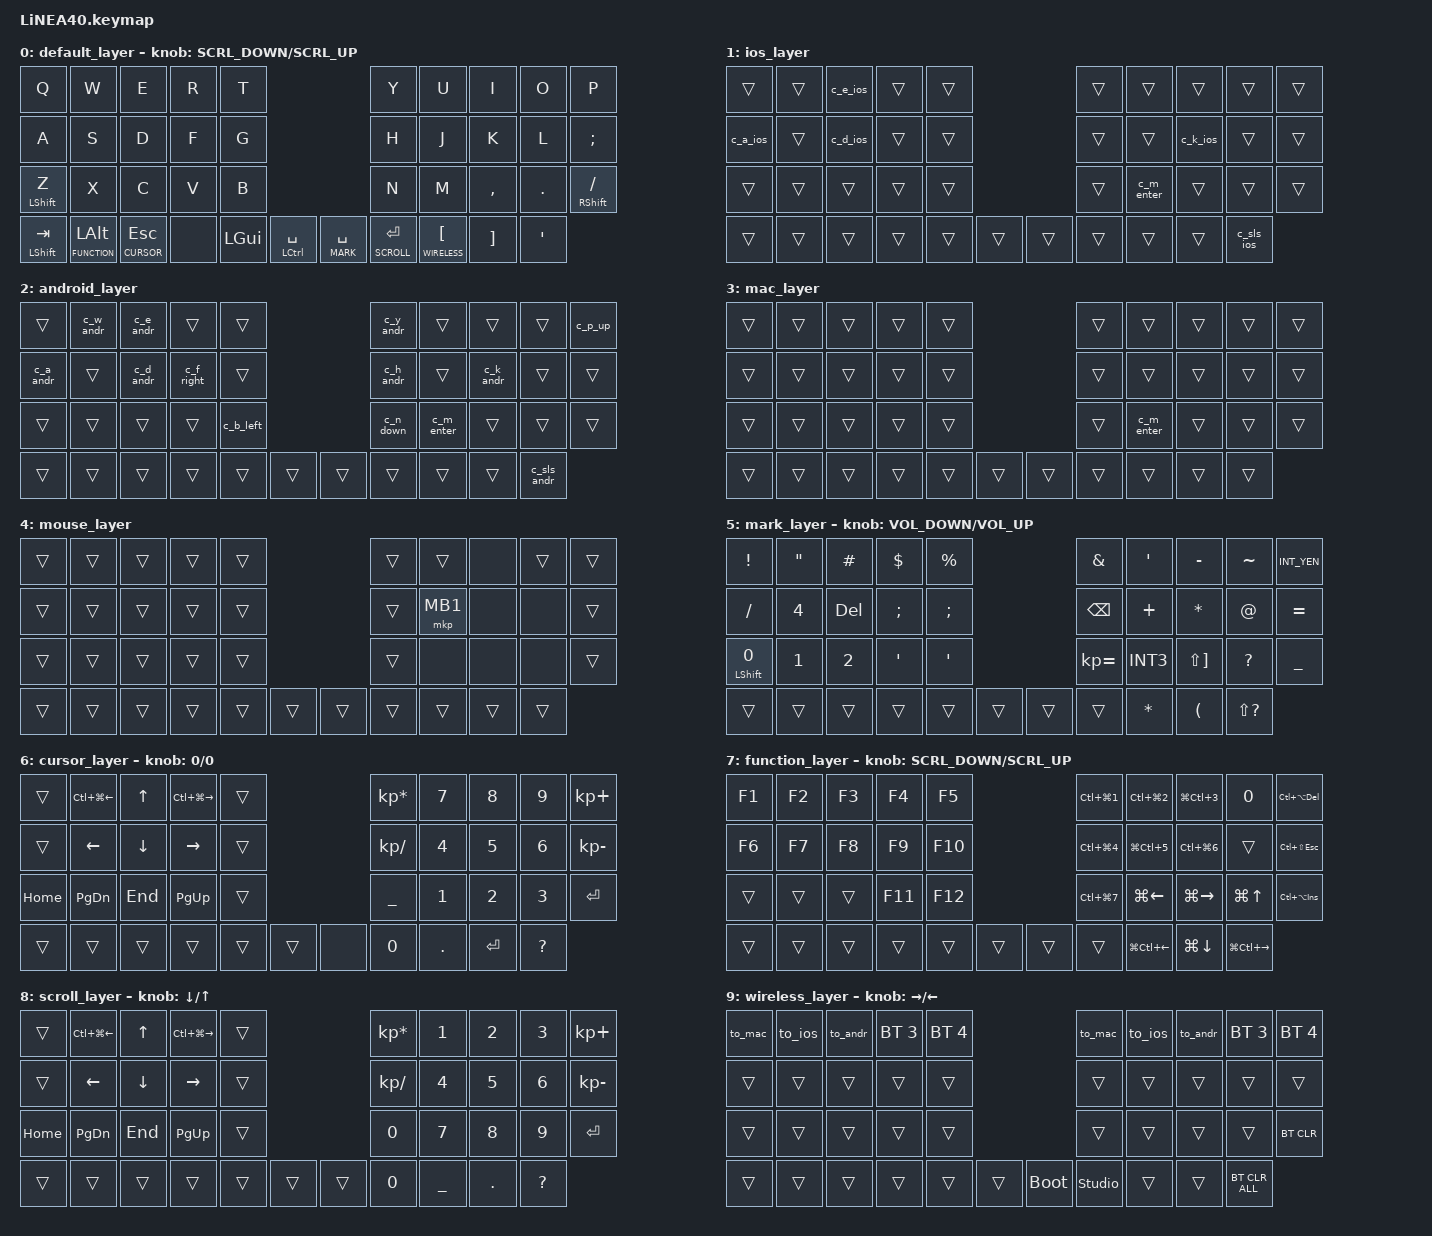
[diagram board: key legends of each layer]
#define ZMK_POINTING_DEFAULT_SCRL_VAL 150

#include <dt-bindings/zmk/input_transform.h>
#include <input/processors.dtsi>
#include <zephyr/dt-bindings/input/input-event-codes.h>
#include <behaviors.dtsi>
#include <dt-bindings/zmk/bt.h>
#include <dt-bindings/zmk/keys.h>
#include <dt-bindings/zmk/pointing.h>

#define L_IOS    1
#define L_ANDR   2
#define L_MAC    3
#define MOUSE    4
#define MARK     5
#define CURSOR   6
#define FUNCTION 7
#define SCROLL   8
#define WIRELESS 9

//mouse cursol

&mmv {
    delay-ms = <20>;
    trigger-period-ms = <5>;
    time-to-max-speed-ms = <100>;
    acceleration-exponent = <2>;
};

//mouse scroll

&msc {
    delay-ms = <3>;
    trigger-period-ms = <3>;
    time-to-max-speed-ms = <100>;
    acceleration-exponent = <0>;
};

/ {
    input_processors {
        zip_wheel_scaler: zip_wheel_scaler {
            compatible = "zmk,input-processor-scaler";
            #input-processor-cells = <2>;
            type = <INPUT_EV_REL>;
            codes = <INPUT_REL_WHEEL>;
            track-remainders;
        };
    };
};

&msc_input_listener {
    speed_up {
        layers = <FUNCTION>;
        input-processors = <&zip_wheel_scaler 3 1>; //スクロールを3倍速にする
    };
};

&trackball_listener {
    scroller {
        layers = <SCROLL>;
        input-processors =
            <&zip_xy_transform INPUT_TRANSFORM_Y_INVERT>,
            //スクロール方向を逆転,,,,,,,,,,,,,
            <&zip_xy_to_scroll_mapper>;
    };
};

/ {
    combos {
        compatible = "zmk,combos";

        tab {
            bindings = <&kp TAB>;
            key-positions = <0 1>;
        };

        DeleteKey {
            bindings = <&kp DELETE>;
            key-positions = <6 7>;
        };

        InsertKey {
            bindings = <&kp LS(TAB)>;
            key-positions = <1 2>;
        };

        CenterClick {
            bindings = <&mkp MB3>;
            key-positions = <17 16>;
        };

        RightClick {
            bindings = <&mkp MB2>;
            key-positions = <18 17>;
        };

        PrevClick {
            bindings = <&mkp MB4>;
            key-positions = <27 28>;
        };

        ClickNext {
            bindings = <&mkp MB5>;
            key-positions = <26 27>;
        };
    };

    /* ===== 1) マクロ：複数キーを順に送る（BLEの並び替え防止のため40ms推奨） ===== */

    macros {
        // --- iOS用 ---

        em_kill_eol_ios: em_kill_eol_ios {
            compatible = "zmk,behavior-macro";
            #binding-cells = <0>;
            wait-ms = <40>;
            tap-ms = <40>;
            bindings = <&kp LS(LG(RIGHT)) &kp DELETE>; // Shift+Cmd+→ → Delete
        };

        em_del_word_fwd_ios: em_del_word_fwd_ios {
            compatible = "zmk,behavior-macro";
            #binding-cells = <0>;
            wait-ms = <40>;
            tap-ms = <40>;
            bindings = <&kp LS(LA(RIGHT)) &kp DELETE>; // Opt+Shift+→ → Delete
        };

        // --- Android用 ---

        em_kill_eol_andr: em_kill_eol_andr {
            compatible = "zmk,behavior-macro";
            #binding-cells = <0>;
            wait-ms = <40>;
            tap-ms = <40>;
            bindings = <&kp LS(END) &kp DELETE>;       // Shift+End → Delete
        };

        em_del_word_fwd_andr: em_del_word_fwd_andr {
            compatible = "zmk,behavior-macro";
            #binding-cells = <0>;

            // まずは Ctrl+Delete（非対応アプリがあれば選択→Deleteに切替）

            bindings = <&kp LC(DELETE)>;
        };

        macro_andr_kill: macro_andr_kill {
            compatible = "zmk,behavior-macro";
            #binding-cells = <0>;
            wait-ms = <40>;
            tap-ms = <40>;
            bindings = <&kp LS(LG(RIGHT)) &kp DELETE>; /* Shift+Meta+→ → Del */
        };

        /* --- Android: C-k を「行末まで選択→Delete」で実現 --- */

        andr_kill_eol: andr_kill_eol {
            compatible = "zmk,behavior-macro";
            #binding-cells = <0>;
            wait-ms = <40>;
            tap-ms = <40>;
            bindings = <&kp LS(END) &kp DELETE>;  // Shift+End → Delete
        };

        /* 代替: End が効かないアプリ用（Meta+→ による選択→削除）*/

        andr_kill_eol_alt: andr_kill_eol_alt {
            compatible = "zmk,behavior-macro";
            #binding-cells = <0>;
            wait-ms = <40>;
            tap-ms = <40>;
            bindings = <&kp LS(LG(RIGHT)) &kp DELETE>;
        };

        andr_ping: andr_ping {
            compatible = "zmk,behavior-macro";
            #binding-cells = <0>;
            wait-ms = <20>;
            tap-ms = <20>;
            bindings = <&kp A &kp N &kp D &kp R>;
        };

        // --- OS/BT同時切替（例：7=iOS, 8=Android, 9=Mac） ---

        to_mac: to_mac {
            compatible = "zmk,behavior-macro";
            #binding-cells = <0>;
            wait-ms = <0>;
            tap-ms = <0>;
            bindings = <&bt BT_SEL 0 &to 0 &tog L_MAC>;      /* ベースを default に */
        };

        to_ios: to_ios {
            compatible = "zmk,behavior-macro";
            #binding-cells = <0>;
            wait-ms = <0>;
            tap-ms = <0>;
            bindings = <&bt BT_SEL 1 &to 0 &tog L_IOS>;
        };

        to_andr: to_andr {
            compatible = "zmk,behavior-macro";
            #binding-cells = <0>;
            wait-ms = <0>;
            tap-ms = <0>;
            bindings = <&bt BT_SEL 2 &to 0 &tog L_ANDR>;
        };
    };

    behaviors {
        re_kp: sensor_rotate_kp {
            compatible = "zmk,behavior-sensor-rotate-var";
            #sensor-binding-cells = <2>;
            bindings = <&kp>, <&kp>;
        };

        mouse_scrl: mouse_wheel_scrl {
            compatible = "zmk,behavior-sensor-rotate-var";
            #sensor-binding-cells = <2>;
            bindings = <&msc>, <&msc>;

            tap-ms = <20>;
        };

        /* Layer-Tap を “Hold 優先” にする共通ビヘイビア */

        lt_hold: lt_hold {
            compatible = "zmk,behavior-hold-tap";
            #binding-cells = <2>;            /* 引数は <レイヤ番号, タップ時のキー> の2つ */
            flavor = "hold-preferred";       /* ← これが要点：長押し判定を優先 */
            tapping-term-ms = <180>;         /* 180〜220で微調整 */
            quick-tap-ms = <0>;
            bindings = <&mo>, <&kp>;

            /* Hold=レイヤ（&mo）、Tap=キー（&kp） */
        };

        /* ===== 2) Mod‑Morph：修飾キー検知で置換 ===== */
        /* --- iOS: Ctrl系/Meta系をiOSが理解するCmd/Opt系列に変換 --- */

        c_a_ios: c_a_ios {
            compatible = "zmk,behavior-mod-morph";
            #binding-cells = <0>;
            bindings = <&kp A>, <&kp LG(LEFT)>;

            // Cmd+←

            mods = <(MOD_LCTL|MOD_RCTL)>;
        };

        c_e_ios: c_e_ios {
            compatible = "zmk,behavior-mod-morph";
            #binding-cells = <0>;
            bindings = <&kp E>, <&kp LG(RIGHT)>;

            mods = <(MOD_LCTL|MOD_RCTL)>;
        };

        m_b_ios: m_b_ios {
            compatible = "zmk,behavior-mod-morph";
            #binding-cells = <0>;
            bindings = <&kp B>, <&kp LA(LEFT)>;

            mods = <(MOD_LALT|MOD_RALT)>;
        };

        m_f_ios: m_f_ios {
            compatible = "zmk,behavior-mod-morph";
            #binding-cells = <0>;
            bindings = <&kp F>, <&kp LA(RIGHT)>;

            mods = <(MOD_LALT|MOD_RALT)>;
        };

        c_d_ios: c_d_ios {
            compatible = "zmk,behavior-mod-morph";
            #binding-cells = <0>;
            bindings = <&kp D>, <&kp DELETE>;

            mods = <(MOD_LCTL|MOD_RCTL)>;
        };

        c_k_ios: c_k_ios {
            compatible = "zmk,behavior-mod-morph";
            #binding-cells = <0>;
            bindings = <&kp K>, <&em_kill_eol_ios>;

            mods = <(MOD_LCTL|MOD_RCTL)>;
        };

        m_d_ios: m_d_ios {
            compatible = "zmk,behavior-mod-morph";
            #binding-cells = <0>;
            bindings = <&kp D>, <&em_del_word_fwd_ios>;

            mods = <(MOD_LALT|MOD_RALT)>;
        };

        c_y_ios: c_y_ios {
            compatible = "zmk,behavior-mod-morph";
            #binding-cells = <0>;
            bindings = <&kp Y>, <&kp LG(V)>;

            mods = <(MOD_LCTL|MOD_RCTL)>;
        }; // Paste
        c_w_ios: c_w_ios {
            compatible = "zmk,behavior-mod-morph";
            #binding-cells = <0>;
            bindings = <&kp W>, <&kp LG(X)>;

            mods = <(MOD_LCTL|MOD_RCTL)>;
        }; // Cut
        m_w_ios: m_w_ios {
            compatible = "zmk,behavior-mod-morph";
            #binding-cells = <0>;
            bindings = <&kp W>, <&kp LG(C)>;

            mods = <(MOD_LALT|MOD_RALT)>;
        }; // Copy
        c_sls_ios: c_sls_ios {
            compatible = "zmk,behavior-mod-morph";
            #binding-cells = <0>;
            bindings = <&kp SLASH>, <&kp LG(Z)>;

            mods = <(MOD_LCTL|MOD_RCTL)>;
        }; // Undo
        /* === 共通: Ctrl+M → Enter === */

        c_m_enter: c_m_enter {
            compatible = "zmk,behavior-mod-morph";
            #binding-cells = <0>;
            mods = <(MOD_LCTL|MOD_RCTL)>;
            bindings = <&kp M>, <&kp ENTER>;
        };

        /* === ついでに: Ctrl+P → ↑ （上一行）=== */

        c_p_up: c_p_up {
            compatible = "zmk,behavior-mod-morph";
            #binding-cells = <0>;
            mods = <(MOD_LCTL|MOD_RCTL)>;
            bindings = <&kp P>, <&kp UP_ARROW>;
        };

        c_f_right: c_f_andr {
            compatible = "zmk,behavior-mod-morph";
            #binding-cells = <0>;
            mods = <(MOD_LCTL|MOD_RCTL)>;
            bindings = <&kp F>, <&kp RIGHT_ARROW>;

            // Ctrl+F -> →
        };

        c_b_left: c_b_andr {
            compatible = "zmk,behavior-mod-morph";
            #binding-cells = <0>;
            mods = <(MOD_LCTL|MOD_RCTL)>;
            bindings = <&kp B>, <&kp LEFT_ARROW>;

            // Ctrl+B -> ←
        };

        c_n_down: c_n_andr {
            compatible = "zmk,behavior-mod-morph";
            #binding-cells = <0>;
            mods = <(MOD_LCTL|MOD_RCTL)>;
            bindings = <&kp N>, <&kp DOWN_ARROW>;

            /* Ctrl+N → 下一行 */
        };

        /* ===== Android: Emacs → Windows/Linux 風へ ===== */

        c_a_andr: c_a_andr {
            compatible = "zmk,behavior-mod-morph";
            #binding-cells = <0>;
            bindings = <&kp A>, <&kp HOME>;

            mods = <(MOD_LCTL|MOD_RCTL)>;
        };

        c_e_andr: c_e_andr {
            compatible = "zmk,behavior-mod-morph";
            #binding-cells = <0>;
            bindings = <&kp E>, <&kp END>;

            mods = <(MOD_LCTL|MOD_RCTL)>;
        };

        c_h_andr: c_h_andr {
            compatible = "zmk,behavior-mod-morph";
            #binding-cells = <0>;
            mods = <(MOD_LCTL|MOD_RCTL)>;
            bindings = <&kp H>, <&kp BACKSPACE>;

            /* Ctrl+H → 後退(Backspace) */
        };

        c_d_andr: c_d_andr {
            compatible = "zmk,behavior-mod-morph";
            #binding-cells = <0>;
            bindings = <&kp D>, <&kp DELETE>;

            mods = <(MOD_LCTL|MOD_RCTL)>;
        };

        c_k_andr: c_k_andr {
            compatible = "zmk,behavior-mod-morph";
            #binding-cells = <0>;
            bindings = <&kp K>, <&andr_kill_eol>;

            // 必要なら andr_kill_eol_alt に切替

            mods = <(MOD_LCTL|MOD_RCTL)>;
        };

        c_y_andr: c_y_andr {
            compatible = "zmk,behavior-mod-morph";
            #binding-cells = <0>;
            bindings = <&kp Y>, <&kp LC(V)>;

            mods = <(MOD_LCTL|MOD_RCTL)>;
        };

        c_w_andr: c_w_andr {
            compatible = "zmk,behavior-mod-morph";
            #binding-cells = <0>;
            bindings = <&kp W>, <&kp LC(X)>;

            mods = <(MOD_LCTL|MOD_RCTL)>;
        };

        m_w_andr: m_w_andr {
            compatible = "zmk,behavior-mod-morph";
            #binding-cells = <0>;
            bindings = <&kp W>, <&kp LC(C)>;

            mods = <(MOD_LALT|MOD_RALT)>;
        };

        c_sls_andr: c_sls_andr {
            compatible = "zmk,behavior-mod-morph";
            #binding-cells = <0>;
            bindings = <&kp SLASH>, <&kp LC(Z)>;

            mods = <(MOD_LCTL|MOD_RCTL)>;
        };
    };

    keymap {
        compatible = "zmk,keymap";

        default_layer {
            bindings = <
&kp Q               &kp W                       &kp E                   &kp R  &kp T                                                 &kp Y                  &kp U  &kp I                           &kp O              &kp P
&kp A               &kp S                       &kp D                   &kp F  &kp G                                                 &kp H                  &kp J  &kp K                           &kp L              &kp SEMI
&mt LEFT_SHIFT Z    &kp X                       &kp C                   &kp V  &kp B                                                 &kp N                  &kp M  &kp COMMA                       &kp DOT            &mt RIGHT_SHIFT SLASH
&mt LEFT_SHIFT TAB  &lt_hold FUNCTION LEFT_ALT  &lt_hold CURSOR ESCAPE  &none  &kp LEFT_GUI  &mt LCTRL SPACE    &lt_hold MARK SPACE  &lt_hold SCROLL ENTER         &lt_hold WIRELESS LEFT_BRACKET  &kp RIGHT_BRACKET  &kp SINGLE_QUOTE
            >;

            sensor-bindings = <&mouse_scrl SCRL_DOWN SCRL_UP>;
        };

        ios_layer {
            // L_IOS = 1

            bindings = <
&trans    &trans  &c_e_ios  &trans  &trans                    &trans  &trans      &trans    &trans  &trans
&c_a_ios  &trans  &c_d_ios  &trans  &trans                    &trans  &trans      &c_k_ios  &trans  &trans
&trans    &trans  &trans    &trans  &trans                    &trans  &c_m_enter  &trans    &trans  &trans
&trans    &trans  &trans    &trans  &trans  &trans    &trans  &trans              &trans    &trans  &c_sls_ios
            >;
        };

        android_layer {
            // L_ANDR = 2

            bindings = <
&trans     &c_w_andr  &c_e_andr  &trans      &trans                       &c_y_andr  &trans      &trans     &trans  &c_p_up
&c_a_andr  &trans     &c_d_andr  &c_f_right  &trans                       &c_h_andr  &trans      &c_k_andr  &trans  &trans
&trans     &trans     &trans     &trans      &c_b_left                    &c_n_down  &c_m_enter  &trans     &trans  &trans
&trans     &trans     &trans     &trans      &trans     &trans    &trans  &trans                 &trans     &trans  &c_sls_andr
            >;
        };

        mac_layer {
            // L_MAC = 3（基本は素通し・必要なら C-k だけ補助）

            bindings = <
&trans  &trans  &trans  &trans  &trans                    &trans  &trans      &trans  &trans  &trans
&trans  &trans  &trans  &trans  &trans                    &trans  &trans      &trans  &trans  &trans
&trans  &trans  &trans  &trans  &trans                    &trans  &c_m_enter  &trans  &trans  &trans
&trans  &trans  &trans  &trans  &trans  &trans    &trans  &trans              &trans  &trans  &trans
            >;
        };

        mouse_layer {
            // MOUSE = 4

            bindings = <
&trans  &trans  &trans  &trans  &trans                    &trans  &trans    &none   &trans  &trans
&trans  &trans  &trans  &trans  &trans                    &trans  &mkp MB1  &none   &none   &trans
&trans  &trans  &trans  &trans  &trans                    &trans  &none     &none   &none   &trans
&trans  &trans  &trans  &trans  &trans  &trans    &trans  &trans            &trans  &trans  &trans
            >;
        };

        mark_layer {
            // MARK = 5

            bindings = <
&kp EXCLAMATION          &kp DOUBLE_QUOTES  &kp HASH      &kp DOLLAR      &kp PERCENT                      &kp AMPERSAND  &kp SINGLE_QUOTE  &kp MINUS              &kp TILDE             &kp INT_YEN
&kp SLASH                &kp NUMBER_4       &kp DELETE    &kp SEMICOLON   &kp SEMICOLON                    &kp BACKSPACE  &kp PLUS          &kp ASTERISK           &kp AT_SIGN           &kp EQUAL
&mt LEFT_SHIFT NUMBER_0  &kp NUMBER_1       &kp NUMBER_2  &kp APOSTROPHE  &kp SQT                          &kp KP_EQUAL   &kp INT3          &kp LS(RIGHT_BRACKET)  &kp QUESTION          &kp UNDERSCORE
&trans                   &trans             &trans        &trans          &trans         &trans    &trans  &trans                           &kp ASTERISK           &kp LEFT_PARENTHESIS  &kp LS(QUESTION)
            >;

            sensor-bindings = <&re_kp C_VOLUME_DOWN C_VOLUME_UP>;
        };

        cursor_layer {
            // CURSOR = 6

            bindings = <
&trans    &kp LC(LG(LEFT_ARROW))  &kp UP_ARROW  &kp LC(LG(RIGHT_ARROW))  &trans                   &kp KP_MULTIPLY  &kp NUMBER_7  &kp NUMBER_8  &kp NUMBER_9  &kp KP_PLUS
&trans    &kp LEFT_ARROW          &kp DOWN      &kp RIGHT_ARROW          &trans                   &kp KP_SLASH     &kp NUMBER_4  &kp NUMBER_5  &kp NUMBER_6  &kp KP_MINUS
&kp HOME  &kp PAGE_DOWN           &kp END       &kp PAGE_UP              &trans                   &kp UNDERSCORE   &kp NUMBER_1  &kp NUMBER_2  &kp NUMBER_3  &kp ENTER
&trans    &trans                  &trans        &trans                   &trans  &trans    &none  &kp NUMBER_0                   &kp DOT       &kp ENTER     &kp QUESTION
            >;

            sensor-bindings = <&inc_dec_kp 0 0>;
        };

        function_layer {
            // FUNCTION = 7

            bindings = <
&kp F1  &kp F2  &kp F3  &kp F4   &kp F5                     &kp LC(LG(NUMBER_1))  &kp LC(LG(NUMBER_2))  &kp LG(LC(NUMBER_3))    &kp NUMBER_0        &kp LC(LA(DELETE))
&kp F6  &kp F7  &kp F8  &kp F9   &kp F10                    &kp LC(LG(NUMBER_4))  &kp LG(LC(NUMBER_5))  &kp LC(LG(NUMBER_6))    &trans              &kp LC(LS(ESCAPE))
&trans  &trans  &trans  &kp F11  &kp F12                    &kp LC(LG(NUMBER_7))  &kp LG(LEFT_ARROW)    &kp LG(RIGHT_ARROW)     &kp LG(UP_ARROW)    &kp LC(LA(INS))
&trans  &trans  &trans  &trans   &trans   &trans    &trans  &trans                                      &kp LG(LC(LEFT_ARROW))  &kp LG(DOWN_ARROW)  &kp LG(LC(RIGHT_ARROW))
            >;

            sensor-bindings = <&mouse_scrl SCRL_DOWN SCRL_UP>;
        };

        scroll_layer {
            // SCROLL = 8

            bindings = <
&trans    &kp LC(LG(LEFT_ARROW))  &kp UP_ARROW  &kp LC(LG(RIGHT_ARROW))  &trans                    &kp KP_MULTIPLY  &kp NUMBER_1  &kp NUMBER_2    &kp NUMBER_3  &kp KP_PLUS
&trans    &kp LEFT_ARROW          &kp DOWN      &kp RIGHT_ARROW          &trans                    &kp KP_SLASH     &kp NUMBER_4  &kp NUMBER_5    &kp NUMBER_6  &kp KP_MINUS
&kp HOME  &kp PAGE_DOWN           &kp END       &kp PAGE_UP              &trans                    &kp NUMBER_0     &kp NUMBER_7  &kp NUMBER_8    &kp NUMBER_9  &kp ENTER
&trans    &trans                  &trans        &trans                   &trans  &trans    &trans  &kp NUMBER_0                   &kp UNDERSCORE  &kp DOT       &kp QUESTION
            >;

            sensor-bindings = <&inc_dec_kp DOWN_ARROW UP_ARROW>;
        };

        wireless_layer {
            // WIRELESS = 9

            bindings = <
&to_mac  &to_ios  &to_andr  &bt BT_SEL 3  &bt BT_SEL 4                         &to_mac         &to_ios  &to_andr  &bt BT_SEL 3  &bt BT_SEL 4
&trans   &trans   &trans    &trans        &trans                               &trans          &trans   &trans    &trans        &trans
&trans   &trans   &trans    &trans        &trans                               &trans          &trans   &trans    &trans        &bt BT_CLR
&trans   &trans   &trans    &trans        &trans        &trans    &bootloader  &studio_unlock           &trans    &trans        &bt BT_CLR_ALL
            >;

            sensor-bindings = <&inc_dec_kp RIGHT_ARROW LEFT_ARROW>;
        };
    };
};
